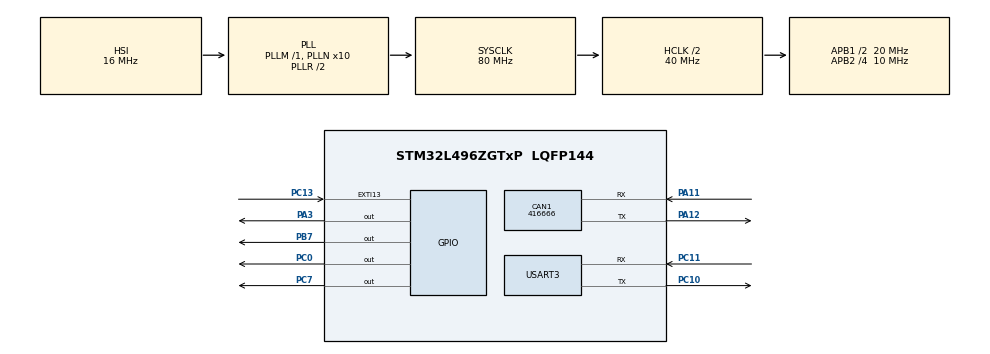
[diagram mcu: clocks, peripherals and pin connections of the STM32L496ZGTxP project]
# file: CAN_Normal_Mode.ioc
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CAN1.BS1=CAN_BS1_1TQ
CAN1.BS2=CAN_BS2_1TQ
CAN1.CalculateBaudRate=416666
CAN1.CalculateTimeBit=2400
CAN1.CalculateTimeQuantum=800.0
Mcu.Family=STM32L4
Mcu.Name=STM32L496ZGTxP
Mcu.Package=LQFP144
NVIC.CAN1_RX0_IRQn=true\:0\:0\:false\:false\:true\:true\:true\:true
NVIC.CAN1_RX1_IRQn=true\:0\:0\:false\:false\:true\:true\:true\:true
NVIC.CAN1_SCE_IRQn=true\:0\:0\:false\:false\:true\:true\:true\:true
NVIC.CAN1_TX_IRQn=true\:0\:0\:false\:false\:true\:true\:true\:true
NVIC.EXTI15_10_IRQn=true\:0\:0\:false\:false\:true\:true\:true\:true
NVIC.PriorityGroup=NVIC_PRIORITYGROUP_4
NVIC.TIM6_DAC_IRQn=true\:0\:0\:false\:false\:true\:true\:true\:true
NVIC.USART3_IRQn=true\:0\:0\:false\:false\:true\:true\:true\:true
PA11.Mode=CAN_Activate
PA11.Signal=CAN1_RX
PA12.Mode=CAN_Activate
PA12.Signal=CAN1_TX
PA3.Signal=GPIO_Output
PB7.Signal=GPIO_Output
PC0.Signal=GPIO_Output
PC10.Mode=Asynchronous
PC10.Signal=USART3_TX
PC11.Mode=Asynchronous
PC11.Signal=USART3_RX
PC13.GPIO_ModeDefaultEXTI=GPIO_MODE_IT_FALLING
PC13.Signal=GPXTI13
PC7.Signal=GPIO_Output
ProjectManager.HeapSize=0x200
ProjectManager.StackSize=0x400
ProjectManager.TargetToolchain=STM32CubeIDE
RCC.48MHZClocksFreq_Value=24000000
RCC.ADCFreq_Value=160000000
RCC.AHBCLKDivider=RCC_SYSCLK_DIV2
RCC.AHBFreq_Value=40000000
RCC.APB1CLKDivider=RCC_HCLK_DIV2
RCC.APB1Freq_Value=20000000
RCC.APB1TimFreq_Value=40000000
RCC.APB2CLKDivider=RCC_HCLK_DIV4
RCC.APB2Freq_Value=10000000
RCC.APB2TimFreq_Value=20000000
RCC.CortexFreq_Value=40000000
RCC.HCLKFreq_Value=40000000
RCC.HSE_VALUE=16000000
RCC.HSI48_VALUE=48000000
RCC.HSI_VALUE=16000000
RCC.LSE_VALUE=32768
RCC.MSI_VALUE=4000000
RCC.PLLMUL=RCC_PLL_MUL9
RCC.PLLN=10
RCC.PLLSAI1N=20
RCC.PLLSourceVirtual=RCC_PLLSOURCE_HSI
RCC.PRESCALERUSB=RCC_USBCLKSOURCE_PLL_DIV1_5
RCC.SYSCLKFreq_VALUE=80000000
RCC.SYSCLKSource=RCC_SYSCLKSOURCE_PLLCLK
RCC.SYSCLKSourceVirtual=RCC_SYSCLKSOURCE_PLLCLK
RCC.USBFreq_Value=160000000
RCC.VCOOutputFreq_Value=160000000
USART3.VirtualMode-Asynchronous=VM_ASYNC
VP_TIM6_VS_ClockSourceINT.Mode=Enable_Timer
board=NUCLEO-L496ZG-P

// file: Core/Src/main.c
/* USER CODE BEGIN Header */
/**
  ******************************************************************************
  * @file           : main.c
  * @brief          : Main program body
  ******************************************************************************
  * @attention
  *
  * Copyright (c) 2023 STMicroelectronics.
  * All rights reserved.
  *
  * This software is licensed under terms that can be found in the LICENSE file
  * in the root directory of this software component.
  * If no LICENSE file comes with this software, it is provided AS-IS.
  *
  ******************************************************************************
  */
/* USER CODE END Header */
#include "main.h"

/* USER CODE BEGIN Includes */
#include<stdio.h>
#include<string.h>
/* USER CODE END Includes */

CAN_HandleTypeDef hcan1;

TIM_HandleTypeDef htim6;

UART_HandleTypeDef huart3;

void SystemClock_Config(void);
static void MX_GPIO_Init(void);
static void MX_CAN1_Init(void);
static void MX_TIM6_Init(void);
static void MX_USART3_UART_Init(void);
/* USER CODE BEGIN PFP */
void CAN1_Tx(void);
void CAN1_Rx(void);
void CAN_Filter_Config(void);

void HAL_CAN_TxMailbox0CompleteCallback(CAN_HandleTypeDef *hcan);
void HAL_CAN_TxMailbox1CompleteCallback(CAN_HandleTypeDef *hcan);
void HAL_CAN_TxMailbox2CompleteCallback(CAN_HandleTypeDef *hcan);
void HAL_CAN_RxFifo0MsgPendingCallback(CAN_HandleTypeDef *hcan);
void HAL_CAN_ErrorCallback(CAN_HandleTypeDef *hcan);
/* USER CODE END PFP */

int main(void)
{
  /* USER CODE BEGIN 1 */
char buf[50]="Application is Running\n\r";
  /* USER CODE END 1 */

  /* MCU Configuration--------------------------------------------------------*/

  /* Reset of all peripherals, Initializes the Flash interface and the Systick. */
  HAL_Init();

  /* Configure the system clock */
  SystemClock_Config();

  /* Initialize all configured peripherals */
  MX_GPIO_Init();
  MX_CAN1_Init();
  MX_TIM6_Init();
  MX_USART3_UART_Init();
  /* USER CODE BEGIN 2 */

  CAN_Filter_Config();

  if( HAL_CAN_ActivateNotification(&hcan1, CAN_IT_TX_MAILBOX_EMPTY | CAN_IT_RX_FIFO1_MSG_PENDING | CAN_IT_BUSOFF ) != HAL_OK){
	  Error_Handler();
  }

  if(HAL_CAN_Start(&hcan1) != HAL_OK){
	  Error_Handler();
  }

  //CAN1_Tx();
  //CAN1_Rx();
HAL_UART_Transmit(&huart3, (uint8_t*)buf, strlen(buf), HAL_MAX_DELAY);

  /* USER CODE END 2 */

  /* Infinite loop */
  while (1)
  {

  }
}

void SystemClock_Config(void)
{
  RCC_OscInitTypeDef RCC_OscInitStruct = {0};
  RCC_ClkInitTypeDef RCC_ClkInitStruct = {0};

  /** Configure the main internal regulator output voltage
  */
  if (HAL_PWREx_ControlVoltageScaling(PWR_REGULATOR_VOLTAGE_SCALE1) != HAL_OK)
  {
    Error_Handler();
  }

  /** Initializes the RCC Oscillators according to the specified parameters
  * in the RCC_OscInitTypeDef structure.
  */
  RCC_OscInitStruct.OscillatorType = RCC_OSCILLATORTYPE_HSI;
  RCC_OscInitStruct.HSIState = RCC_HSI_ON;
  RCC_OscInitStruct.HSICalibrationValue = RCC_HSICALIBRATION_DEFAULT;
  RCC_OscInitStruct.PLL.PLLState = RCC_PLL_ON;
  RCC_OscInitStruct.PLL.PLLSource = RCC_PLLSOURCE_HSI;
  RCC_OscInitStruct.PLL.PLLM = 1;
  RCC_OscInitStruct.PLL.PLLN = 10;
  RCC_OscInitStruct.PLL.PLLP = RCC_PLLP_DIV2;
  RCC_OscInitStruct.PLL.PLLQ = RCC_PLLQ_DIV2;
  RCC_OscInitStruct.PLL.PLLR = RCC_PLLR_DIV2;
  if (HAL_RCC_OscConfig(&RCC_OscInitStruct) != HAL_OK)
  {
    Error_Handler();
  }

  /** Initializes the CPU, AHB and APB buses clocks
  */
  RCC_ClkInitStruct.ClockType = RCC_CLOCKTYPE_HCLK|RCC_CLOCKTYPE_SYSCLK
                              |RCC_CLOCKTYPE_PCLK1|RCC_CLOCKTYPE_PCLK2;
  RCC_ClkInitStruct.SYSCLKSource = RCC_SYSCLKSOURCE_PLLCLK;
  RCC_ClkInitStruct.AHBCLKDivider = RCC_SYSCLK_DIV2;
  RCC_ClkInitStruct.APB1CLKDivider = RCC_HCLK_DIV2;
  RCC_ClkInitStruct.APB2CLKDivider = RCC_HCLK_DIV4;

  if (HAL_RCC_ClockConfig(&RCC_ClkInitStruct, FLASH_LATENCY_2) != HAL_OK)
  {
    Error_Handler();
  }
}

static void MX_CAN1_Init(void)
{

  hcan1.Instance = CAN1;
  hcan1.Init.Prescaler = 16;
  hcan1.Init.Mode = CAN_MODE_NORMAL;
  hcan1.Init.SyncJumpWidth = CAN_SJW_1TQ;
  hcan1.Init.TimeSeg1 = CAN_BS1_1TQ;
  hcan1.Init.TimeSeg2 = CAN_BS2_1TQ;
  hcan1.Init.TimeTriggeredMode = DISABLE;
  hcan1.Init.AutoBusOff = DISABLE;
  hcan1.Init.AutoWakeUp = DISABLE;
  hcan1.Init.AutoRetransmission = DISABLE;
  hcan1.Init.ReceiveFifoLocked = DISABLE;
  hcan1.Init.TransmitFifoPriority = DISABLE;
  if (HAL_CAN_Init(&hcan1) != HAL_OK)
  {
    Error_Handler();
  }

}

static void MX_TIM6_Init(void)
{

  TIM_MasterConfigTypeDef sMasterConfig = {0};

  htim6.Instance = TIM6;
  htim6.Init.Prescaler = 1999;
  htim6.Init.CounterMode = TIM_COUNTERMODE_UP;
  htim6.Init.Period = 20000-1;
  htim6.Init.AutoReloadPreload = TIM_AUTORELOAD_PRELOAD_DISABLE;
  if (HAL_TIM_Base_Init(&htim6) != HAL_OK)
  {
    Error_Handler();
  }
  sMasterConfig.MasterOutputTrigger = TIM_TRGO_RESET;
  sMasterConfig.MasterSlaveMode = TIM_MASTERSLAVEMODE_DISABLE;
  if (HAL_TIMEx_MasterConfigSynchronization(&htim6, &sMasterConfig) != HAL_OK)
  {
    Error_Handler();
  }

}

static void MX_USART3_UART_Init(void)
{

  huart3.Instance = USART3;
  huart3.Init.BaudRate = 115200;
  huart3.Init.WordLength = UART_WORDLENGTH_8B;
  huart3.Init.StopBits = UART_STOPBITS_1;
  huart3.Init.Parity = UART_PARITY_NONE;
  huart3.Init.Mode = UART_MODE_TX_RX;
  huart3.Init.HwFlowCtl = UART_HWCONTROL_NONE;
  huart3.Init.OverSampling = UART_OVERSAMPLING_16;
  huart3.Init.OneBitSampling = UART_ONE_BIT_SAMPLE_DISABLE;
  huart3.AdvancedInit.AdvFeatureInit = UART_ADVFEATURE_NO_INIT;
  if (HAL_UART_Init(&huart3) != HAL_OK)
  {
    Error_Handler();
  }

}

static void MX_GPIO_Init(void)
{
  GPIO_InitTypeDef GPIO_InitStruct = {0};

  /* GPIO Ports Clock Enable */
  __HAL_RCC_GPIOC_CLK_ENABLE();
  __HAL_RCC_GPIOA_CLK_ENABLE();
  __HAL_RCC_GPIOB_CLK_ENABLE();

  /*Configure GPIO pin Output Level */
  HAL_GPIO_WritePin(GPIOC, GPIO_PIN_0|GPIO_PIN_7, GPIO_PIN_RESET);

  /*Configure GPIO pin Output Level */
  HAL_GPIO_WritePin(GPIOA, GPIO_PIN_3, GPIO_PIN_RESET);

  /*Configure GPIO pin Output Level */
  HAL_GPIO_WritePin(GPIOB, GPIO_PIN_7, GPIO_PIN_RESET);

  /*Configure GPIO pin : PC13 */
  GPIO_InitStruct.Pin = GPIO_PIN_13;
  GPIO_InitStruct.Mode = GPIO_MODE_IT_FALLING;
  GPIO_InitStruct.Pull = GPIO_NOPULL;
  HAL_GPIO_Init(GPIOC, &GPIO_InitStruct);

  /*Configure GPIO pins : PC0 PC7 */
  GPIO_InitStruct.Pin = GPIO_PIN_0|GPIO_PIN_7;
  GPIO_InitStruct.Mode = GPIO_MODE_OUTPUT_PP;
  GPIO_InitStruct.Pull = GPIO_NOPULL;
  GPIO_InitStruct.Speed = GPIO_SPEED_FREQ_LOW;
  HAL_GPIO_Init(GPIOC, &GPIO_InitStruct);

  /*Configure GPIO pin : PA3 */
  GPIO_InitStruct.Pin = GPIO_PIN_3;
  GPIO_InitStruct.Mode = GPIO_MODE_OUTPUT_PP;
  GPIO_InitStruct.Pull = GPIO_NOPULL;
  GPIO_InitStruct.Speed = GPIO_SPEED_FREQ_LOW;
  HAL_GPIO_Init(GPIOA, &GPIO_InitStruct);

  /*Configure GPIO pin : PB7 */
  GPIO_InitStruct.Pin = GPIO_PIN_7;
  GPIO_InitStruct.Mode = GPIO_MODE_OUTPUT_PP;
  GPIO_InitStruct.Pull = GPIO_NOPULL;
  GPIO_InitStruct.Speed = GPIO_SPEED_FREQ_LOW;
  HAL_GPIO_Init(GPIOB, &GPIO_InitStruct);

  /* EXTI interrupt init*/
  HAL_NVIC_SetPriority(EXTI15_10_IRQn, 0, 0);
  HAL_NVIC_EnableIRQ(EXTI15_10_IRQn);

}

/* USER CODE BEGIN 4 */
uint8_t led_no = 0;
void CAN1_Tx(void){
	CAN_TxHeaderTypeDef TxHeader;

	uint32_t TxMailbox;
	uint8_t message;

	TxHeader.DLC = 1;
	TxHeader.StdId = 0x65D;
	TxHeader.IDE = CAN_ID_STD;
	TxHeader.RTR = CAN_RTR_DATA;

	message= ++led_no;
	if(led_no == 4){
		led_no = 0;
	}

	HAL_GPIO_TogglePin(GPIOB, GPIO_PIN_7);

	if (HAL_CAN_AddTxMessage(&hcan1, &TxHeader	, &message	, &TxMailbox) != HAL_OK){
		Error_Handler();
	}

}

void CAN1_Rx(void){
	CAN_RxHeaderTypeDef RxHeader;

	uint8_t rcvd_msg[5];
	char msg[50];

	while( ! HAL_CAN_GetRxFifoFillLevel(&hcan1, CAN_RX_FIFO0));

	if(HAL_CAN_GetRxMessage(&hcan1,CAN_RX_FIFO0, &RxHeader, rcvd_msg) != HAL_OK){
		Error_Handler();
	}

	sprintf(msg,"Message is Received : %s\r\n",rcvd_msg);
	HAL_UART_Transmit(&huart3, (uint8_t*)msg, strlen(msg), HAL_MAX_DELAY);
}

void CAN_Filter_Config(void){

	CAN_FilterTypeDef can1_filter_init;

	can1_filter_init.FilterActivation = ENABLE;
	can1_filter_init.FilterBank =0;
	can1_filter_init.FilterFIFOAssignment = CAN_RX_FIFO0;
	can1_filter_init.FilterIdHigh = 0x0000;
	can1_filter_init.FilterIdLow = 0x0000;
	can1_filter_init.FilterMaskIdHigh = 0x0000;
	can1_filter_init.FilterMaskIdLow = 0x0000;
	can1_filter_init.FilterMode=CAN_FILTERMODE_IDMASK;
	can1_filter_init.FilterScale=CAN_FILTERSCALE_32BIT;

	if (  HAL_CAN_ConfigFilter(&hcan1, &can1_filter_init) != HAL_OK){
		Error_Handler();
	}
}

void HAL_CAN_TxMailbox0CompleteCallback(CAN_HandleTypeDef *hcan){
	char msg[50];
	sprintf(msg,"Message is Received : M0\r\n");
	HAL_UART_Transmit(&huart3, (uint8_t*)msg, strlen(msg), HAL_MAX_DELAY);

}
void HAL_CAN_TxMailbox1CompleteCallback(CAN_HandleTypeDef *hcan){
	char msg[50];
	sprintf(msg,"Message is Received : M1\r\n");
	HAL_UART_Transmit(&huart3, (uint8_t*)msg, strlen(msg), HAL_MAX_DELAY);

}
void HAL_CAN_TxMailbox2CompleteCallback(CAN_HandleTypeDef *hcan){
	char msg[50];
	sprintf(msg,"Message is Received : M2\r\n");
	HAL_UART_Transmit(&huart3, (uint8_t*)msg, strlen(msg), HAL_MAX_DELAY);

}
void HAL_CAN_RxFifo0MsgPendingCallback(CAN_HandleTypeDef *hcan){
	CAN_RxHeaderTypeDef RxHeader;

		uint8_t rcvd_msg[5];
		char msg[50];

		if(HAL_CAN_GetRxMessage(&hcan1,CAN_RX_FIFO0, &RxHeader, rcvd_msg) != HAL_OK){
			Error_Handler();
		}

		sprintf(msg,"Message is Received : %s\r\n",rcvd_msg);
		HAL_UART_Transmit(&huart3, (uint8_t*)msg, strlen(msg), HAL_MAX_DELAY);

}
void HAL_CAN_ErrorCallback(CAN_HandleTypeDef *hcan){
	char msg[50];
	sprintf(msg,"There is an Error\r\n");
	HAL_UART_Transmit(&huart3, (uint8_t*)msg, strlen(msg), HAL_MAX_DELAY);

}

void HAL_TIM_PeriodElapsedCallback(TIM_HandleTypeDef *htim)
{
	CAN1_Tx();
}

/* USER CODE END 4 */

void Error_Handler(void)
{
  __disable_irq();
  while (1)
  {
  }
}
